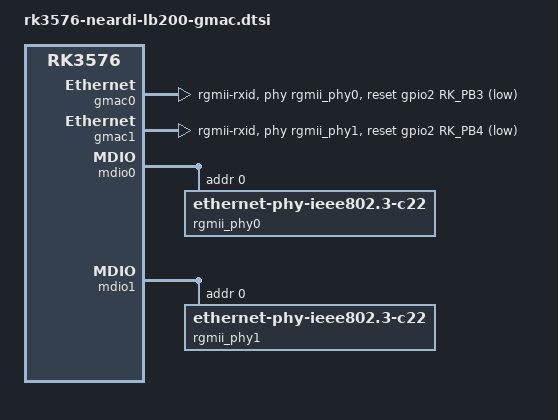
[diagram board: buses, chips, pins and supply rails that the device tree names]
// SPDX-License-Identifier: (GPL-2.0+ OR MIT)
/*
 * Neardi LB200 dual GMAC with YT8521 PHY
 */

#include <dt-bindings/gpio/gpio.h>
#include <dt-bindings/pinctrl/rockchip.h>

&gmac0 {
	phy-mode = "rgmii-rxid";
	clock_in_out = "output";
	snps,reset-gpio = <&gpio2 RK_PB3 GPIO_ACTIVE_LOW>;
	snps,reset-active-low;
	snps,reset-delays-us = <0 20000 100000>;
	pinctrl-names = "default";
	pinctrl-0 = <&eth0m0_miim
		     &eth0m0_tx_bus2
		     &eth0m0_rx_bus2
		     &eth0m0_rgmii_clk
		     &eth0m0_rgmii_bus
		     &ethm0_clk0_25m_out>;
	tx_delay = <0x21>;
	phy-handle = <&rgmii_phy0>;
	status = "okay";
};

&gmac1 {
	phy-mode = "rgmii-rxid";
	clock_in_out = "output";
	snps,reset-gpio = <&gpio2 RK_PB4 GPIO_ACTIVE_LOW>;
	snps,reset-active-low;
	snps,reset-delays-us = <0 20000 100000>;
	pinctrl-names = "default";
	pinctrl-0 = <&eth1m0_miim
		     &eth1m0_tx_bus2
		     &eth1m0_rx_bus2
		     &eth1m0_rgmii_clk
		     &eth1m0_rgmii_bus
		     &ethm0_clk1_25m_out>;
	tx_delay = <0x20>;
	phy-handle = <&rgmii_phy1>;
	status = "okay";
};

&mdio0 {
	rgmii_phy0: ethernet-phy@0 {
		compatible = "ethernet-phy-ieee802.3-c22";
		/* YT8521 needs broadcast address 0x0 */
		reg = <0x0>;
		clocks = <&cru REFCLKO25M_GMAC0_OUT>;
		rx-internal-delay-ps = <1950>;
		motorcomm,auto-sleep-disabled;
		motorcomm,keep-pll-enabled;
	};
};

&mdio1 {
	rgmii_phy1: ethernet-phy@0 {
		compatible = "ethernet-phy-ieee802.3-c22";
		/* YT8521 needs broadcast address 0x0 */
		reg = <0x0>;
		clocks = <&cru REFCLKO25M_GMAC1_OUT>;
		rx-internal-delay-ps = <1950>;
		motorcomm,auto-sleep-disabled;
		motorcomm,keep-pll-enabled;
	};
};
